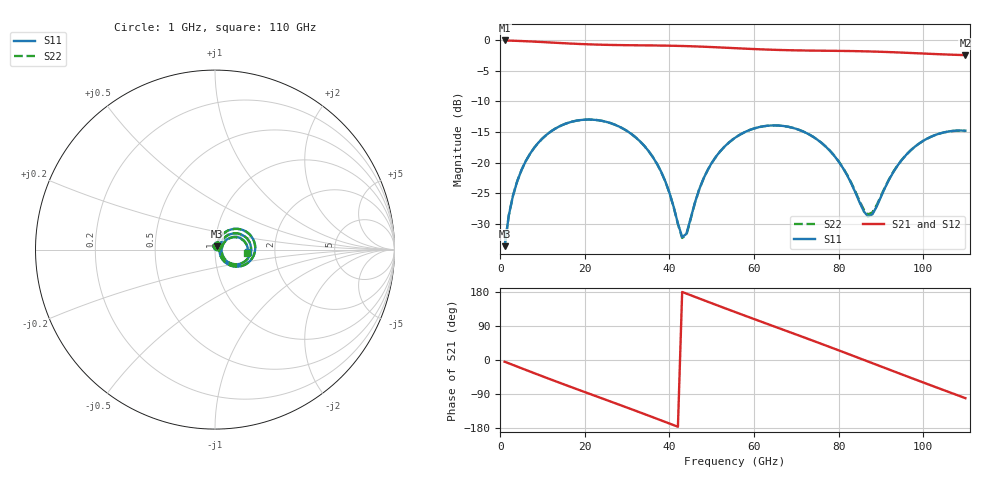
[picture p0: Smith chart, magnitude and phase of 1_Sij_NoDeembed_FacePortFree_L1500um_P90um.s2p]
! Touchstone file exported from HFSS 2024.2.0
!  File:  C:/Users/vaintrug/Documents/Ansoft_Workspace/Comparaison_Calculs_HFSS/1_VarPort.aedt
!  Generated:  03:22:16 PM Jan 21, 2025
!  Design:  1_NoDeembed_FacePortFree
!  Project:  1_VarPort
!  Setup:  Setup1
!  Solution:  Sweep
! Variables:
!  $Lenght = 1500um
!  $PortSize = 90um
!  Gap = 30um
!  Th = 2um
!  X_centralStrip = 20um
!  X_masse = 200um
!  Y_Sub = 1.5mm
!  Z_Box = 400um
!  Z_Sub = 200um
# GHz S MA R 50.000000
! Terminal data exported
! Port[1] = 1
! Port[2] = 2
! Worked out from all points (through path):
!   110 points, 1 GHz to 110 GHz, reference 50 ohm
!   highest |S21| = -0.10 dB at 1 GHz (marker M1); lowest = -2.5 dB at 110 GHz (marker M2)
!   group delay of S21, straight-line fit = 11.6 ps
!   lowest |S11| = -33.6 dB at 1 GHz (marker M3), VSWR 1.04, Z = 50.9 + j1.89 ohm
!   |S11| at or under -10 dB: start of sweep to end of sweep
!   |S22| runs from -33.6 to -13.0 dB; largest |S21 - S12| = 2e-15
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1  0.02089 62.7  0.9891 -4.4  0.9891 -4.4  0.02089 62.7
! Gamma 5.5966831575748 49.7736052607351 5.63951706694729 49.9953176837176
! Port Impedance 50 0 50 0
2  0.03735 69.6  0.9865 -8.8  0.9865 -8.8  0.03735 69.6
3  0.05417 70.0  0.9841 -13.1  0.9841 -13.1  0.05418 70.0
7  0.118 58.4  0.9713 -30.4  0.9713 -30.4  0.118 58.4
14  0.1978 31.2  0.9431 -60.0  0.9431 -60.0  0.1979 31.2
20  0.224 7.8  0.9223 -84.8  0.9223 -84.8  0.2241 7.9
29  0.1895 -25.7  0.906 -121.6  0.906 -121.6  0.1896 -25.7
34  0.1376 -42.5  0.9022 -142.4  0.9022 -142.4  0.1377 -42.6
38  0.08465 -52.0  0.8988 -159.2  0.8988 -159.2  0.08469 -52.2
43  0.0248 -10.9  0.8915 179.5  0.8915 179.5  0.02438 -11.4
44  0.02625 20.0  0.8895 175.3  0.8895 175.3  0.02576 20.2
47  0.06018 51.6  0.8823 162.5  0.8823 162.5  0.05987 52.2
49  0.08674 51.2  0.8767 154.0  0.8767 154.0  0.08649 51.7
56  0.1637 31.9  0.8542 124.6  0.8542 124.6  0.1636 32.3
65  0.2011 0.9  0.8296 87.6  0.8296 87.6  0.2011 1.3
74  0.1623 -29.0  0.8176 50.7  0.8176 50.7  0.1624 -28.5
80  0.1023 -43.6  0.8134 25.6  0.8134 25.6  0.1028 -42.9
87  0.03647 -5.7  0.8053 -4.1  0.8053 -4.1  0.03791 -5.6
92  0.07337 40.0  0.7952 -25.4  0.7952 -25.4  0.07399 38.8
96  0.1158 36.4  0.7851 -42.4  0.7851 -42.4  0.1161 35.5
101  0.1573 23.2  0.7715 -63.4  0.7715 -63.4  0.1572 22.3
110  0.1821 -5.0  0.7513 -100.7  0.7513 -100.7  0.1812 -6.2
